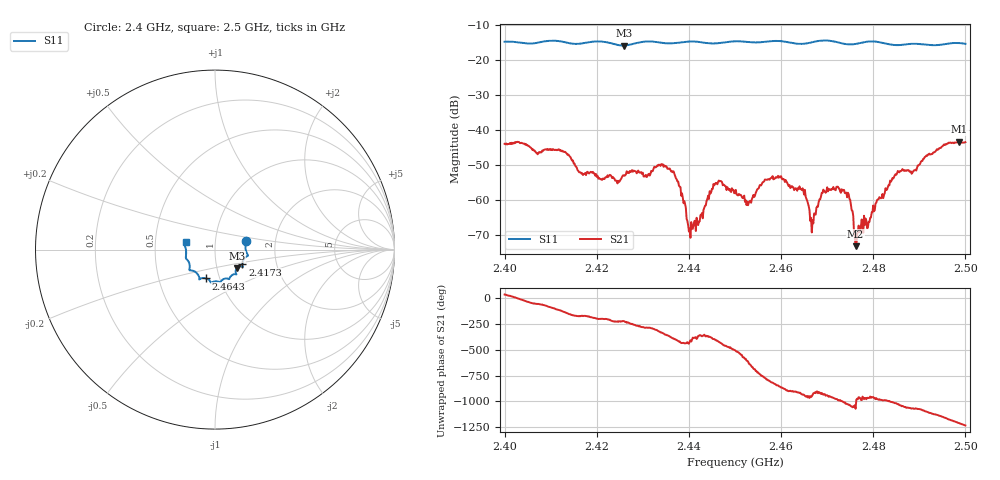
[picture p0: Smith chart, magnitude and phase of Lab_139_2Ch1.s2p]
# Hz S RI R 50
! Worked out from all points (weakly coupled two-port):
!   601 points, 2.4 GHz to 2.5 GHz, reference 50 ohm
!   highest |S21| = -43.31 dB at 2.4987 GHz (marker M1); lowest = -73.1 dB at 2.4762 GHz (marker M2)
!   lowest |S11| = -15.9 dB at 2.4258 GHz (marker M3), VSWR 1.38, Z = 62.3 - j13.2 ohm
!   |S11| at or under -10 dB: start of sweep to end of sweep
!   S12 and S22 are empty: the file has one direction only
!   S11 on the Smith chart (normalised r, x): 2.4 GHz: 1.41, +0.14; 2.4173 GHz: 1.34, -0.23; 2.4643 GHz: 0.86, -0.28; 2.5 GHz: 0.72, +0.06
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2.4e9  0.1734 0.0494  0.0052 0.00367  0 0  0 0
2.412667e9  0.1758 -0.0388  -0.00311 -0.00382  0 0  0 0
2.416667e9  0.153 -0.075  -0.00237 -0.000377  0 0  0 0
2.417333e9  0.1524 -0.0825  -0.00234 -0.00034  0 0  0 0
2.425833e9  0.1215 -0.1035  -0.00166 0.00155  0 0  0 0
2.433333e9  0.1129 -0.1366  0.00234 0.00206  0 0  0 0
2.437167e9  0.0866 -0.1501  0.00153 -0.00138  0 0  0 0
2.440333e9  0.0792 -0.164  0.000195 -0.000219  0 0  0 0
2.445833e9  0.0483 -0.1642  0.00127 -0.00123  0 0  0 0
2.45e9  0.0298 -0.1807  -0.00103 -0.000747  0 0  0 0
2.453e9  0.0175 -0.1775  3.01e-05 0.000933  0 0  0 0
2.456333e9  -0.00921 -0.1794  0.00123 -0.0014  0 0  0 0
2.4595e9  -0.0226 -0.1838  -0.00143 -0.00154  0 0  0 0
2.464333e9  -0.0502 -0.1605  -0.0013 0.000651  0 0  0 0
2.466667e9  -0.0761 -0.1597  -0.000224 0.000268  0 0  0 0
2.469e9  -0.0874 -0.1663  -0.0011 0.000631  0 0  0 0
2.472167e9  -0.0881 -0.1547  -0.000319 0.00153  0 0  0 0
2.474667e9  -0.1034 -0.1293  0.00085 0.000878  0 0  0 0
2.476167e9  -0.1185 -0.1191  0.00022 3.45e-05  0 0  0 0
2.483333e9  -0.1408 -0.0895  0.000246 0.00163  0 0  0 0
2.498667e9  -0.1692 0.0343  -0.00442 -0.00521  0 0  0 0
2.5e9  -0.1635 0.0419  -0.00598 -0.00306  0 0  0 0
